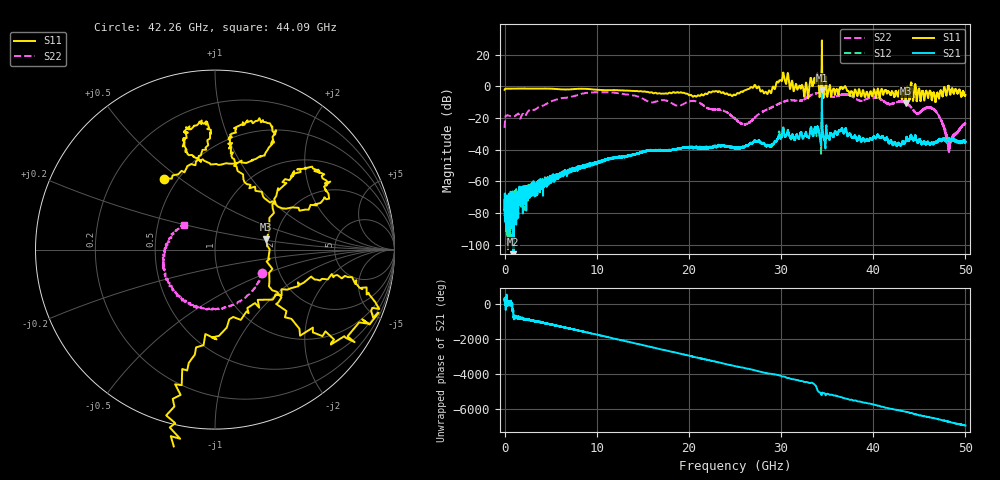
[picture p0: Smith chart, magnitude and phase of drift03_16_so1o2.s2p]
!Created with skrf (http://scikit-rf.org).
# Hz S RI R 50.0
!freq ReS11 ImS11 ReS21 ImS21 ReS12 ImS12 ReS22 ImS22
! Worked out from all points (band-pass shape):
!   10000 points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, 5.3 MHz to 50 GHz, reference 50 ohm
!   highest |S21| = -2.49 dB at 34.43 GHz (marker M1); lowest = -108.0 dB at 915.3 MHz (marker M2)
!   |S21| within 3 dB of the highest: 34.42761 GHz to 34.43439 GHz (6.781 MHz wide, 0.0197 % of centre)
!   lowest |S11| = -10.8 dB at 43.52 GHz (marker M3), VSWR 1.81, Z = 88.7 + j11.2 ohm
!   |S11| at or under -10 dB: 43.50607 GHz to 43.54262 GHz (36.55 MHz wide, 0.084 % of centre)
!   |S22| runs from -41.3 to -3.6 dB; largest |S21 - S12| = 0.23
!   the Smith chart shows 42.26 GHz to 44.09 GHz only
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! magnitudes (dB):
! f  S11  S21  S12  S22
! 5.3 MHz  -2.1  -71.8  -77.5  -26.1
! 915.3 MHz  -1.4  -108.0  -71.7  -19.0
! 3.095 GHz  -1.4  -66.4  -65.4  -14.8
! 8.34 GHz  -1.5  -50.6  -50.8  -4.7
! 16.67 GHz  -4.4  -40.2  -40.3  -9.1
! 20.72 GHz  -6.3  -38.9  -38.6  -9.3
! 25.01 GHz  -5.5  -38.9  -39.0  -20.5
! 26.25 GHz  -2.2  -37.6  -37.5  -23.6
! 28.72 GHz  -2.5  -37.7  -37.6  -14.0
! 30.14 GHz  4.3  -29.4  -29.7  -10.0
! 32.74 GHz  2.0  -29.7  -29.2  -7.3
! 33.34 GHz  2.5  -27.4  -27.6  -5.3
! 33.82 GHz  3.9  -29.1  -29.5  -4.4
! 34.43 GHz  29.1  -2.5  -4.5  -4.0
! 36.49 GHz  -0.3  -27.7  -27.9  -5.3
! 38.88 GHz  -2.4  -32.8  -32.7  -8.9
! 41.67 GHz  -3.3  -35.8  -35.7  -10.8
! 43.52 GHz  -10.8  -34.4  -34.8  -10.5
! 44.74 GHz  -8.8  -34.6  -34.8  -17.2
! 46.68 GHz  -6.4  -35.5  -35.4  -15.3
! 48.22 GHz  -0.6  -32.7  -33.2  -37.9
! 50 GHz  -5.4  -35.0  -35.4  -23.2
